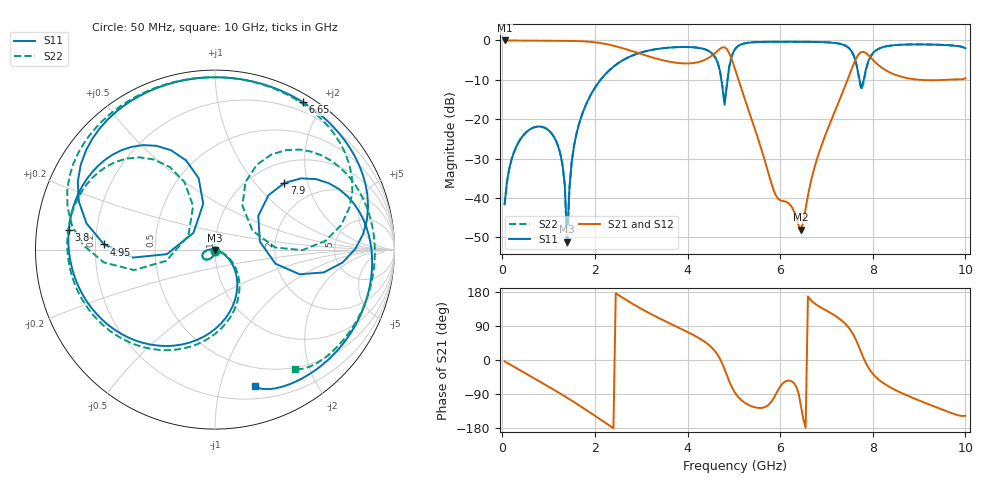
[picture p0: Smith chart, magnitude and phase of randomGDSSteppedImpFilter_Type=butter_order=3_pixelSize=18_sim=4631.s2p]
! freq	dB(S11)	phase(S11)	dB(S12)	phase(S12)
!  dB(S21)	phase(S21)	dB(S22)	phase(S22)
!S-par simulation data
#  GHz  S  DB  R 50
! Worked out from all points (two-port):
!   200 points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, 50 MHz to 10 GHz, reference 50 ohm
!   highest |S21| = -0.02 dB at 50 MHz (marker M1); lowest = -48.0 dB at 6.45 GHz (marker M2)
!   |S21| within 3 dB of the highest: start of sweep to 2.882 GHz; 4.612 GHz to 4.89 GHz (277.4 MHz wide, 5.84 % of centre) (the widest 2 of 3)
!   lowest |S11| = -51.0 dB at 1.4 GHz (marker M3), VSWR 1.01, Z = 49.9 - j0.25 ohm
!   |S11| at or under -10 dB: start of sweep to 2.124 GHz; 4.729 GHz to 4.865 GHz (135.7 MHz wide, 2.83 % of centre); 7.714 GHz to 7.805 GHz (90.76 MHz wide, 1.17 % of centre)
!   |S22| runs from -52.2 to -0.3 dB; largest |S21 - S12| = 0
!   S11 on the Smith chart (normalised r, x): 50 MHz: 1.00, -0.02; 3.8 GHz: 0.10, +0.07; 4.95 GHz: 0.24, +0.02; 6.65 GHz: 0.09, +1.75; 7.9 GHz: 1.39, +1.45; 10 GHz: 0.31, -1.28
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0.05  -41.59 -83.8  -0.02 -3.6  -0.02 -3.6  -41.59 -83.8
0.35  -25.85 -114.3  -0.05 -24.6  -0.05 -24.6  -25.85 -113.8
0.95  -22.38 -157.5  -0.11 -66.8  -0.11 -66.8  -22.39 -156.2
1.3  -31.53 179.3  -0.12 -92.2  -0.12 -92.2  -31.58 -179.6
1.4  -51.05 -116.7  -0.12 -99.6  -0.12 -99.6  -52.21 -109.3
1.5  -30.71 -23.1  -0.14 -107.2  -0.14 -107.2  -30.67 -19.6
1.75  -17.94 -40.3  -0.24 -126.9  -0.24 -126.9  -17.92 -37.1
2.4  -6.68 -93.3  -1.35 -180.0  -1.35 -180.0  -6.67 -89.1
3.4  -2.09 -164.1  -4.85 109.5  -4.85 109.5  -2.09 -157.7
3.8  -1.70 172.2  -5.74 85.8  -5.74 85.8  -1.69 179.6
4.5  -3.02 124.5  -4.08 35.5  -4.08 35.5  -3.01 134.2
4.75  -11.58 104.3  -1.79 -9.4  -1.79 -9.4  -11.33 116.7
4.95  -4.17 177.4  -4.68 -69.9  -4.68 -69.9  -4.12 -173.4
5.05  -1.88 160.5  -8.19 -90.8  -8.19 -90.8  -1.86 170.5
6.45  -0.36 69.5  -48.00 -122.0  -48.00 -122.0  -0.36 84.5
6.65  -0.39 59.3  -36.52 159.5  -36.52 159.5  -0.38 74.9
6.7  -0.39 56.7  -34.06 153.5  -34.06 153.5  -0.39 72.4
7.35  -1.05 15.7  -13.15 101.9  -13.15 101.9  -1.04 32.6
7.65  -6.18 -16.3  -4.39 49.7  -4.39 49.7  -6.26 -0.4
7.9  -5.41 43.8  -3.71 -19.0  -3.71 -19.0  -5.55 63.8
8.35  -1.38 8.3  -8.03 -70.2  -8.03 -70.2  -1.38 27.5
10  -2.00 -73.8  -9.59 -147.1  -9.59 -147.1  -1.96 -56.3
